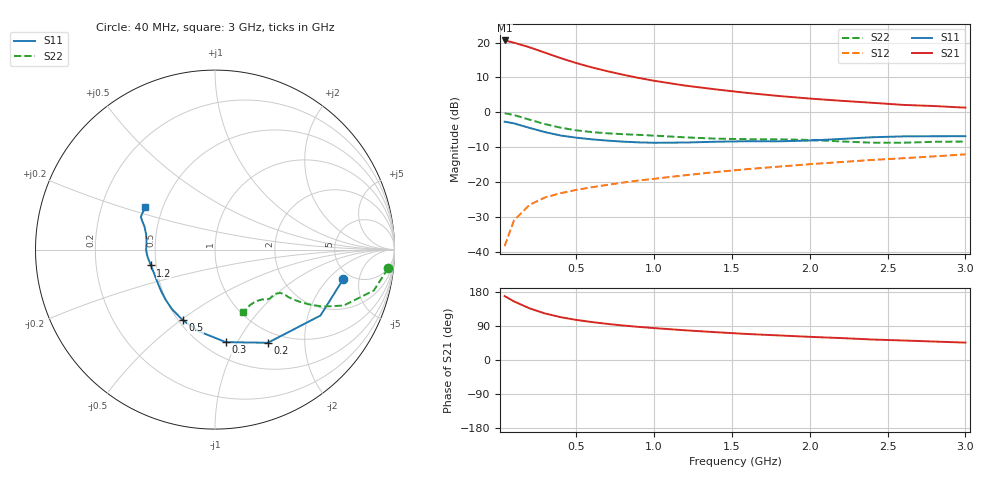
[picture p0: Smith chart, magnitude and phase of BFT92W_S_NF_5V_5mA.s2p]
! Filename:  BFT92WB.S2P  Version:  4.0
! Philips part #: BFT92W  Date: Jun 1994
! Bias condition: Vce=5V, Ic=5mA
#  MHz  S  MA  R  50
! Freq  S11  S21  S12  S22  !GUM [dB]
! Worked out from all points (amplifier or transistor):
!   21 points, 40 MHz to 3 GHz, reference 50 ohm
!   highest |S21| = 20.6 dB at 40 MHz (marker M1)
!   |S21| within 3 dB of that: start of sweep to 266.9 MHz
!   unconditionally stable (mu >= 1): 823 MHz to end of sweep
!   at 300 MHz: K = 0.55, MSG = 20.8 dB, |S12| = -24.4 dB
!   at 1 GHz: K = 1.09, MAG = 12.2 dB, |S12| = -19.1 dB
!   at 3 GHz: K = 1.17, MAG = 4.2 dB, |S12| = -12.1 dB
!   lowest NFmin = 2.40 dB at 500 MHz
!   S11 on the Smith chart (normalised r, x): 40 MHz: 4.25, -3.03; 200 MHz: 0.84, -1.35; 300 MHz: 0.64, -0.90; 500 MHz: 0.53, -0.51; 1.2 GHz: 0.47, -0.10; 3 GHz: 0.40, +0.24
40  0.733 -13.0  10.72 168.7  0.012 82.5  0.97 -6.2
100  0.693 -32.0  9.962 154.7  0.028 72.9  0.913 -14.5
200  0.597 -60.4  8.548 136.3  0.047 62.6  0.782 -23.5
300  0.519 -83.4  7.152 122.8  0.06 56.9  0.676 -28.0
400  0.464 -101.3  5.979 113.0  0.069 54.8  0.601 -30.4
500  0.432 -114.7  5.08 105.8  0.077 54.4  0.551 -31.7
600  0.409 -125.9  4.408 100.1  0.084 55.0  0.52 -32.4
700  0.392 -134.6  3.878 95.3  0.091 55.9  0.499 -32.8
800  0.379 -142.3  3.459 91.1  0.098 57.0  0.485 -32.9
900  0.37 -149.1  3.111 87.4  0.105 57.9  0.474 -32.8
1000  0.365 -155.3  2.831 84.2  0.111 58.9  0.462 -32.8
1200  0.368 -166.1  2.412 78.4  0.125 60.6  0.437 -33.5
1400  0.378 -173.9  2.125 73.3  0.139 61.9  0.418 -36.1
1600  0.384 -179.6  1.893 68.6  0.153 62.8  0.411 -39.7
1800  0.383 174.3  1.713 64.9  0.166 64.0  0.409 -42.0
2000  0.393 167.5  1.573 61.1  0.18 65.0  0.401 -43.7
2200  0.414 161.8  1.462 57.9  0.193 65.9  0.382 -46.6
2400  0.438 158.2  1.368 54.1  0.207 66.5  0.366 -52.0
2600  0.451 156.3  1.276 51.5  0.219 66.8  0.366 -58.3
2800  0.453 153.2  1.228 48.7  0.233 67.7  0.377 -62.6
3000  0.454 148.8  1.164 45.9  0.249 68.2  0.38 -65.4
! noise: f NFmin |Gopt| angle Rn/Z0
500  2.4  0.23  54  0.39
1000  3.1  0.26  82  0.51
